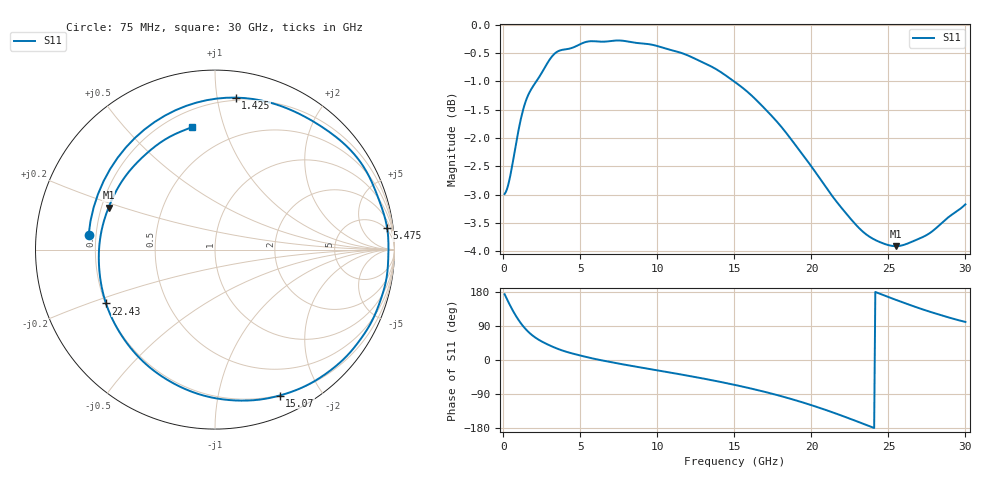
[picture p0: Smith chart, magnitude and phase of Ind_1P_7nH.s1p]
#  Hz  S  RI  R  50
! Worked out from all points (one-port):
!   400 points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, 75 MHz to 30 GHz, reference 50 ohm
!   lowest |S11| = -3.9 dB at 25.5 GHz (marker M1), VSWR 4.52, Z = 11.4 + j9.01 ohm
!   |S11| at or under -10 dB: nowhere
!   S11 on the Smith chart (normalised r, x): 75 MHz: 0.17, +0.05; 1.425 GHz: 0.18, +1.13; 5.475 GHz: 4, +15; 15.07 GHz: 0.20, -1.52; 22.43 GHz: 0.20, -0.22; 30 GHz: 0.30, +0.79
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7.5e7  -0.7046 0.0796
3.75e8  -0.6208 0.3813
6e8  -0.4961 0.5697
7.5e8  -0.3926 0.6695
1.05e9  -0.1627 0.8
1.425e9  0.1143 0.8468
1.875e9  0.3712 0.7985
2.4e9  0.5704 0.6999
3.15e9  0.7608 0.5482
3.825e9  0.861 0.4025
5.475e9  0.9594 0.1183
7.575e9  0.9536 -0.1701
9.45e9  0.8818 -0.383
1.1325e10  0.759 -0.5655
1.3275e10  0.5773 -0.719
1.5075e10  0.3599 -0.8133
1.7025e10  0.079 -0.8382
1.7925e10  -0.0595 -0.8143
1.8825e10  -0.1975 -0.7626
2.0475e10  -0.4268 -0.5974
2.1525e10  -0.5393 -0.4481
2.2425e10  -0.6073 -0.2997
2.2575e10  -0.6154 -0.2736
2.4075e10  -0.6465 -0.0073
2.55e10  -0.5933 0.2338
2.6325e10  -0.5339 0.3562
2.8275e10  -0.3332 0.5754
3e10  -0.1259 0.6828
